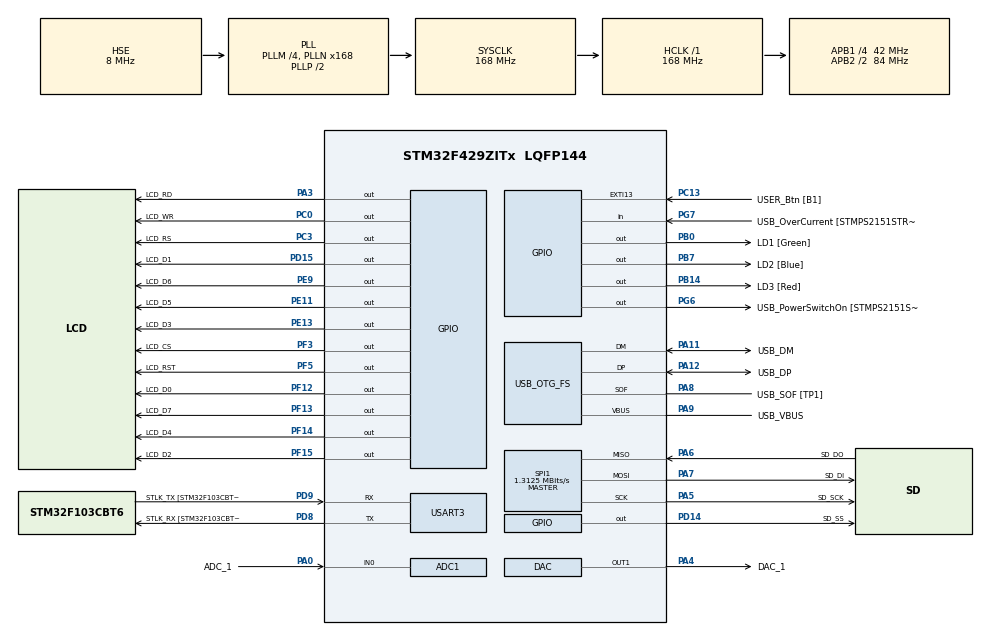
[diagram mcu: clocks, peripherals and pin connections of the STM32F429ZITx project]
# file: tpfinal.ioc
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ADC1.Channel-0\#ChannelRegularConversion=ADC_CHANNEL_0
ADC1.InjNumberOfConversion=0
ADC1.NbrOfConversion=1
ADC1.NbrOfConversionFlag=1
ADC1.Rank-0\#ChannelRegularConversion=1
ADC1.SamplingTime-0\#ChannelRegularConversion=ADC_SAMPLETIME_3CYCLES
ADC1.master=1
Mcu.Family=STM32F4
Mcu.Name=STM32F429ZITx
Mcu.Package=LQFP144
NVIC.PriorityGroup=NVIC_PRIORITYGROUP_4
PA0/WKUP.GPIO_Label=ADC_1
PA0/WKUP.Signal=ADCx_IN0
PA10.GPIO_Label=USB_ID
PA10.Signal=USB_OTG_FS_ID
PA11.GPIO_Label=USB_DM
PA11.Mode=Device_Only
PA11.Signal=USB_OTG_FS_DM
PA12.GPIO_Label=USB_DP
PA12.Mode=Device_Only
PA12.Signal=USB_OTG_FS_DP
PA13.GPIO_Label=TMS
PA13.Mode=Serial_Wire
PA13.Signal=SYS_JTMS-SWDIO
PA14.GPIO_Label=TCK
PA14.Mode=Serial_Wire
PA14.Signal=SYS_JTCK-SWCLK
PA3.GPIO_Label=LCD_RD
PA3.GPIO_Speed=GPIO_SPEED_FREQ_VERY_HIGH
PA3.Signal=GPIO_Output
PA4.GPIO_Label=DAC_1
PA4.Signal=COMP_DAC1_group
PA5.GPIO_Label=SD_SCK
PA5.Mode=Full_Duplex_Master
PA5.Signal=SPI1_SCK
PA6.GPIO_Label=SD_DO
PA6.Mode=Full_Duplex_Master
PA6.Signal=SPI1_MISO
PA7.GPIO_Label=SD_DI
PA7.Mode=Full_Duplex_Master
PA7.Signal=SPI1_MOSI
PA8.GPIO_Label=USB_SOF [TP1]
PA8.Mode=Activate_SOF_FS
PA8.Signal=USB_OTG_FS_SOF
PA9.GPIO_Label=USB_VBUS
PA9.Mode=Activate_VBUS
PA9.Signal=USB_OTG_FS_VBUS
PB0.GPIO_Label=LD1 [Green]
PB0.GPIO_Speed=GPIO_SPEED_FREQ_LOW
PB0.Signal=GPIO_Output
PB13.GPIO_Label=RMII_TXD1 [LAN8742A-CZ-TR_TXD1]
PB13.Signal=ETH_TXD1
PB14.GPIO_Label=LD3 [Red]
PB14.Signal=GPIO_Output
PB7.GPIO_Label=LD2 [Blue]
PB7.Signal=GPIO_Output
PC0.GPIO_Label=LCD_WR
PC0.GPIO_Speed=GPIO_SPEED_FREQ_VERY_HIGH
PC0.Signal=GPIO_Output
PC1.GPIO_Label=RMII_MDC [LAN8742A-CZ-TR_MDC]
PC1.Signal=ETH_MDC
PC13.GPIO_Label=USER_Btn [B1]
PC13.Signal=GPXTI13
PC14/OSC32_IN.Mode=LSE-External-Oscillator
PC14/OSC32_IN.Signal=RCC_OSC32_IN
PC15/OSC32_OUT.Mode=LSE-External-Oscillator
PC15/OSC32_OUT.Signal=RCC_OSC32_OUT
PC3.GPIO_Label=LCD_RS
PC3.GPIO_Speed=GPIO_SPEED_FREQ_VERY_HIGH
PC3.Signal=GPIO_Output
PC4.GPIO_Label=RMII_RXD0 [LAN8742A-CZ-TR_RXD0]
PC4.Signal=ETH_RXD0
PC5.GPIO_Label=RMII_RXD1 [LAN8742A-CZ-TR_RXD1]
PC5.Signal=ETH_RXD1
PD14.GPIO_Label=SD_SS
PD14.GPIO_Speed=GPIO_SPEED_FREQ_VERY_HIGH
PD14.Signal=GPIO_Output
PD15.GPIO_Label=LCD_D1
PD15.GPIO_Speed=GPIO_SPEED_FREQ_VERY_HIGH
PD15.Signal=GPIO_Output
PD8.GPIO_Label=STLK_RX [STM32F103CBT6_PA3]
PD8.Mode=Asynchronous
PD8.Signal=USART3_TX
PD9.GPIO_Label=STLK_TX [STM32F103CBT6_PA2]
PD9.Mode=Asynchronous
PD9.Signal=USART3_RX
PE11.GPIO_Label=LCD_D5
PE11.GPIO_Speed=GPIO_SPEED_FREQ_VERY_HIGH
PE11.Signal=GPIO_Output
PE13.GPIO_Label=LCD_D3
PE13.GPIO_Speed=GPIO_SPEED_FREQ_VERY_HIGH
PE13.Signal=GPIO_Output
PE9.GPIO_Label=LCD_D6
PE9.GPIO_Speed=GPIO_SPEED_FREQ_VERY_HIGH
PE9.Signal=GPIO_Output
PF12.GPIO_Label=LCD_D0
PF12.GPIO_Speed=GPIO_SPEED_FREQ_VERY_HIGH
PF12.Signal=GPIO_Output
PF13.GPIO_Label=LCD_D7
PF13.GPIO_Speed=GPIO_SPEED_FREQ_VERY_HIGH
PF13.Signal=GPIO_Output
PF14.GPIO_Label=LCD_D4
PF14.GPIO_Speed=GPIO_SPEED_FREQ_VERY_HIGH
PF14.Signal=GPIO_Output
PF15.GPIO_Label=LCD_D2
PF15.GPIO_Speed=GPIO_SPEED_FREQ_VERY_HIGH
PF15.Signal=GPIO_Output
PF3.GPIO_Label=LCD_CS
PF3.GPIO_Speed=GPIO_SPEED_FREQ_VERY_HIGH
PF3.Signal=GPIO_Output
PF5.GPIO_Label=LCD_RST
PF5.GPIO_Speed=GPIO_SPEED_FREQ_VERY_HIGH
PF5.Signal=GPIO_Output
PG6.GPIO_Label=USB_PowerSwitchOn [STMPS2151STR_EN]
PG6.Signal=GPIO_Output
PG7.GPIO_Label=USB_OverCurrent [STMPS2151STR_FAULT]
PG7.Signal=GPIO_Input
PH0/OSC_IN.GPIO_Label=MCO [STM32F103CBT6_PA8]
PH0/OSC_IN.Mode=HSE-External-Clock-Source
PH0/OSC_IN.Signal=RCC_OSC_IN
PH1/OSC_OUT.Mode=HSE-External-Clock-Source
PH1/OSC_OUT.Signal=RCC_OSC_OUT
ProjectManager.HeapSize=0x200
ProjectManager.StackSize=0x400
ProjectManager.TargetToolchain=STM32CubeIDE
RCC.48MHZClocksFreq_Value=48000000
RCC.AHBFreq_Value=168000000
RCC.APB1CLKDivider=RCC_HCLK_DIV4
RCC.APB1Freq_Value=42000000
RCC.APB1TimFreq_Value=84000000
RCC.APB2CLKDivider=RCC_HCLK_DIV2
RCC.APB2Freq_Value=84000000
RCC.APB2TimCLKDivider=2
RCC.APB2TimFreq_Value=168000000
RCC.CortexFreq_Value=168000000
RCC.HCLKFreq_Value=168000000
RCC.HSE_VALUE=8000000
RCC.HSI_VALUE=16000000
RCC.PLLM=4
RCC.PLLMUL=RCC_PLL_MUL9
RCC.PLLN=168
RCC.PLLQ=7
RCC.PRESCALERUSB=RCC_USBCLKSOURCE_PLL_DIV1_5
RCC.SYSCLKFreq_VALUE=168000000
RCC.SYSCLKSource=RCC_SYSCLKSOURCE_PLLCLK
RCC.SYSCLKSourceVirtual=RCC_SYSCLKSOURCE_PLLCLK
RCC.USBFreq_Value=48000000
RCC.VCOOutputFreq_Value=336000000
SH.ADCx_IN0.0=ADC1_IN0,IN0
SH.COMP_DAC1_group.0=DAC_OUT1,DAC_OUT1
SPI1.BaudRatePrescaler=SPI_BAUDRATEPRESCALER_64
SPI1.CalculateBaudRate=1.3125 MBits/s
SPI1.Direction=SPI_DIRECTION_2LINES
SPI1.Mode=SPI_MODE_MASTER
SPI1.VirtualType=VM_MASTER
USART3.VirtualMode=VM_ASYNC
USB_OTG_FS.VirtualMode=Device_Only
board=NUCLEO-F429ZI

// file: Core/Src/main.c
/* USER CODE BEGIN Header */
/**
  ******************************************************************************
  * @file           : main.c
  * @brief          : Main program body
  ******************************************************************************
  * @attention
  *
  * Copyright (c) 2023 STMicroelectronics.
  * All rights reserved.
  *
  * This software is licensed under terms that can be found in the LICENSE file
  * in the root directory of this software component.
  * If no LICENSE file comes with this software, it is provided AS-IS.
  *
  ******************************************************************************
  */
/* USER CODE END Header */
#include "main.h"
#include "adc.h"
#include "dac.h"
#include "spi.h"
#include "usart.h"
#include "usb_otg.h"
#include "gpio.h"
#include "pds.h"
#include "ili9341_lib.h"
#include "app.h"

/* USER CODE BEGIN PTD */
extern filter_t filter;

/* USER CODE END PTD */

/* USER CODE BEGIN PD */
void init_cfft_instance(arm_cfft_instance_q15* CS,int length)/*{{{*/
{
   switch(length){
      case 16:
         *CS=arm_cfft_sR_q15_len16;
         break;
      case 32:
         *CS=arm_cfft_sR_q15_len32;
         break;
      case 64:
         *CS=arm_cfft_sR_q15_len64;
         break;
      case 128:
         *CS=arm_cfft_sR_q15_len128;
         break;
      case 256:
         *CS=arm_cfft_sR_q15_len256;
         break;
      case 512:
         *CS=arm_cfft_sR_q15_len512;
         break;
      case 1024:
         *CS=arm_cfft_sR_q15_len1024;
         break;
      case 2048:
         *CS=arm_cfft_sR_q15_len2048;
         break;
      case 4096:
         *CS=arm_cfft_sR_q15_len4096;
         break;
      default:
         *CS=arm_cfft_sR_q15_len128;
   }
   return;
}/*}}}*/
/* USER CODE END PD */

void SystemClock_Config(void);

int main(void)
{

	/* MCU Configuration--------------------------------------------------------*/

	/* Reset of all peripherals, Initializes the Flash interface and the Systick. */
	HAL_Init();

	/* Configure the system clock */
	SystemClock_Config();

	/* Initialize all configured peripherals */
	MX_GPIO_Init();
	MX_USART3_UART_Init();
	MX_USB_OTG_FS_PCD_Init();
	MX_ADC1_Init();
	MX_DAC_Init();
	MX_SPI1_Init();
	/* USER CODE BEGIN 2 */

	/* Configure the screen */
	ili_init();
	ili_rotate_display(3);
	ili_fill_screen(ILI_COLOR_DARKCYAN);
	create_cartesian_axis_for_plot();

	/* Start with the LOW PASS filter as default */
	filter = LOW_PASS;

	/* USER CODE END 2 */

	/* Infinite loop */
	/* USER CODE BEGIN WHILE */
	while (1)
	{
      switch (filter)
      {
         case LOW_PASS:
            sample_adc_and_filter_low_pass(0);
            break;
         case HIGH_PASS:
            sample_adc_and_filter_high_pass(0);
            break;
         case BAND_PASS:
            sample_adc_and_filter_band_pass(0);
            break;
         default:
            sample_adc_and_filter_low_pass(0);
            break;
      }
		/* USER CODE END WHILE */

	}
}

void SystemClock_Config(void)
{
  RCC_OscInitTypeDef RCC_OscInitStruct = {0};
  RCC_ClkInitTypeDef RCC_ClkInitStruct = {0};

  /** Configure the main internal regulator output voltage
  */
  __HAL_RCC_PWR_CLK_ENABLE();
  __HAL_PWR_VOLTAGESCALING_CONFIG(PWR_REGULATOR_VOLTAGE_SCALE1);

  /** Initializes the RCC Oscillators according to the specified parameters
  * in the RCC_OscInitTypeDef structure.
  */
  RCC_OscInitStruct.OscillatorType = RCC_OSCILLATORTYPE_HSE;
  RCC_OscInitStruct.HSEState = RCC_HSE_BYPASS;
  RCC_OscInitStruct.PLL.PLLState = RCC_PLL_ON;
  RCC_OscInitStruct.PLL.PLLSource = RCC_PLLSOURCE_HSE;
  RCC_OscInitStruct.PLL.PLLM = 4;
  RCC_OscInitStruct.PLL.PLLN = 168;
  RCC_OscInitStruct.PLL.PLLP = RCC_PLLP_DIV2;
  RCC_OscInitStruct.PLL.PLLQ = 7;
  if (HAL_RCC_OscConfig(&RCC_OscInitStruct) != HAL_OK)
  {
    Error_Handler();
  }

  /** Initializes the CPU, AHB and APB buses clocks
  */
  RCC_ClkInitStruct.ClockType = RCC_CLOCKTYPE_HCLK|RCC_CLOCKTYPE_SYSCLK
                              |RCC_CLOCKTYPE_PCLK1|RCC_CLOCKTYPE_PCLK2;
  RCC_ClkInitStruct.SYSCLKSource = RCC_SYSCLKSOURCE_PLLCLK;
  RCC_ClkInitStruct.AHBCLKDivider = RCC_SYSCLK_DIV1;
  RCC_ClkInitStruct.APB1CLKDivider = RCC_HCLK_DIV4;
  RCC_ClkInitStruct.APB2CLKDivider = RCC_HCLK_DIV2;

  if (HAL_RCC_ClockConfig(&RCC_ClkInitStruct, FLASH_LATENCY_5) != HAL_OK)
  {
    Error_Handler();
  }
}

void Error_Handler(void)
{
  __disable_irq();
  while (1)
  {
  }
}
